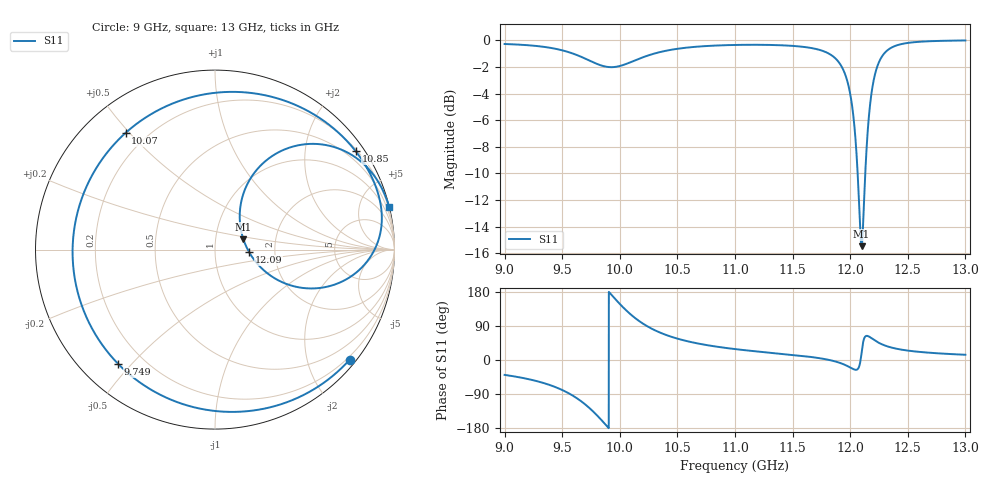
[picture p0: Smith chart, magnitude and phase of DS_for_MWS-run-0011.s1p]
! TOUCHSTONE file generated by CST DESIGN STUDIO
! Date and time: Tue Feb  4 18:09:34 2025
! Project name: C:\Work\MatlabApps\UnitCellOptimizationMatlab\CST\unitcell.cst
! Tree item: Tasks\Sweep1\SPara1\S-Parameters
! Header version: 2024
! Port assignment regex: !\s*Touchstone port\s*([0-9]+)\s*=\s*(CST MWS port|CST DES external port|CST DES block port)\s*(.+)\s* \(\"(.*)\"\)(\s*mode\s*([0-9]+))?.*
! Touchstone port assignment:
! Touchstone port 1 = CST DES external port 1 ("")
# GHz S MA R 50
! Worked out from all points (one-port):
!   4001 points, 9 GHz to 13 GHz, reference 50 ohm
!   lowest |S11| = -15.5 dB at 12.1 GHz (marker M1), VSWR 1.40, Z = 68.3 + j8.05 ohm
!   |S11| at or under -10 dB: 12.06 GHz to 12.13 GHz (66.16 MHz wide, 0.547 % of centre)
!   S11 on the Smith chart (normalised r, x): 9 GHz: 0.14, -2.79; 9.749 GHz: 0.11, -0.46; 10.07 GHz: 0.12, +0.49; 10.85 GHz: 0.25, +3.16; 12.09 GHz: 1.47, -0.04; 13 GHz: 0.03, +8.25
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9  0.9689 -39.3
9.282  0.9519 -56.0
9.5  0.9173 -79.2
9.637  0.8772 -102.9
9.749  0.8346 -130.3
9.88  0.7961 -171.7
9.938  0.7929 168.4
10  0.8008 147.9
10.068  0.8191 127.5
10.147  0.8457 107.4
10.235  0.8741 89.7
10.362  0.9062 70.7
10.5  0.9295 56.4
10.847  0.9565 34.9
11  0.9609 28.8
11.5  0.9532 13.4
11.845  0.8746 -1.8
11.933  0.7859 -10.1
12  0.629 -19.8
12.043  0.4413 -25.7
12.088  0.1899 -3.9
12.099  0.1683 19.9
12.128  0.2976 60.9
12.161  0.5097 62.2
12.214  0.7413 51.6
12.326  0.9196 35.6
12.5  0.9779 24.8
13  0.999 13.8
